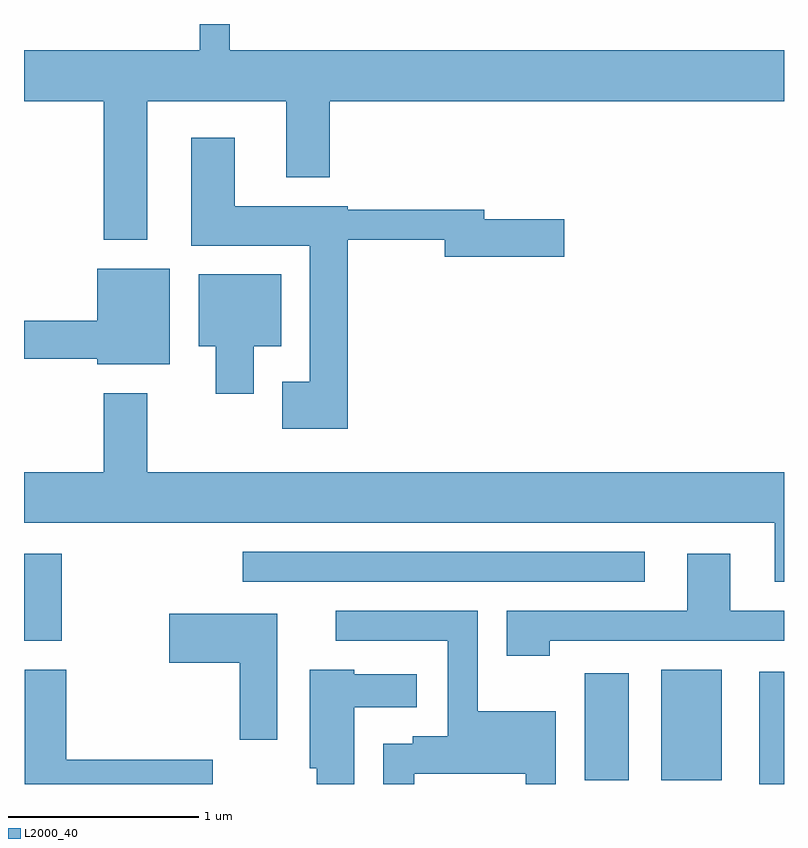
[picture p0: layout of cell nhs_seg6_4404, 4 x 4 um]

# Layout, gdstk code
import gdstk
lib = gdstk.Library(unit=1e-6, precision=1e-09)
def R(c, l, rs):  # rectangles x0, y0, x1, y1
    for r in rs: c.add(gdstk.rectangle(r[:2], r[2:], *l))
def P(c, l, *ps):  # polygons
    for p in ps: c.add(gdstk.Polygon(p, *l))
L2000_40 = (2000, 40)

nhs_seg6_4404 = lib.new_cell('nhs_seg6_4404')
R(nhs_seg6_4404, L2000_40, [(323.481,1604.162,323.611,1604.753), (322.561,1604.181,322.794,1604.744), (322.966,1604.181,323.284,1604.764), (319.611,1604.916,319.809,1605.374), (320.763,1605.226,322.878,1605.384)])
P(nhs_seg6_4404, L2000_40, [(320.259,1607.756),(320.991,1607.756),(320.991,1607.356),(321.219,1607.356),(321.219,1607.756),(323.611,1607.756),(323.611,1608.024),(320.694,1608.024),(320.694,1608.162),(320.536,1608.162),(320.536,1608.024),(319.611,1608.024),(319.611,1607.756),(320.031,1607.756),(320.031,1607.026),(320.259,1607.026)],
  [(321.314,1607.026),(321.826,1607.026),(321.826,1606.936),(322.454,1606.936),(322.454,1607.134),(322.034,1607.134),(322.034,1607.184),(321.314,1607.184),(321.314,1607.204),(320.719,1607.204),(320.719,1607.564),(320.491,1607.564),(320.491,1606.996),(321.116,1606.996),(321.116,1606.279),(320.971,1606.279),(320.971,1606.031),(321.314,1606.031)],
  [(320.379,1606.874),(319.996,1606.874),(319.996,1606.599),(319.611,1606.599),(319.611,1606.401),(319.996,1606.401),(319.996,1606.371),(320.379,1606.371)],
  [(320.819,1606.466),(320.964,1606.466),(320.964,1606.844),(320.531,1606.844),(320.531,1606.466),(320.621,1606.466),(320.621,1606.216),(320.819,1606.216)],
  [(323.611,1605.804),(320.259,1605.804),(320.259,1606.219),(320.031,1606.219),(320.031,1605.804),(319.611,1605.804),(319.611,1605.536),(323.561,1605.536),(323.561,1605.226),(323.611,1605.226)],
  [(322.379,1604.916),(323.611,1604.916),(323.611,1605.074),(323.329,1605.074),(323.329,1605.374),(323.101,1605.374),(323.101,1605.074),(322.151,1605.074),(322.151,1604.836),(322.379,1604.836)],
  [(321.664,1604.216),(322.251,1604.216),(322.251,1604.162),(322.409,1604.162),(322.409,1604.544),(321.999,1604.544),(321.999,1605.074),(321.253,1605.074),(321.253,1604.916),(321.841,1604.916),(321.841,1604.414),(321.656,1604.414),(321.656,1604.374),(321.501,1604.374),(321.501,1604.162),(321.664,1604.162)],
  [(320.944,1605.059),(320.376,1605.059),(320.376,1604.801),(320.746,1604.801),(320.746,1604.396),(320.944,1604.396)],
  [(320.604,1604.289),(319.834,1604.289),(319.834,1604.764),(319.616,1604.764),(319.616,1604.162),(320.604,1604.162)],
  [(321.349,1604.566),(321.679,1604.566),(321.679,1604.739),(321.349,1604.739),(321.349,1604.764),(321.116,1604.764),(321.116,1604.246),(321.151,1604.246),(321.151,1604.162),(321.349,1604.162)])

lib.write_gds('nhs_seg6_4404.gds')
